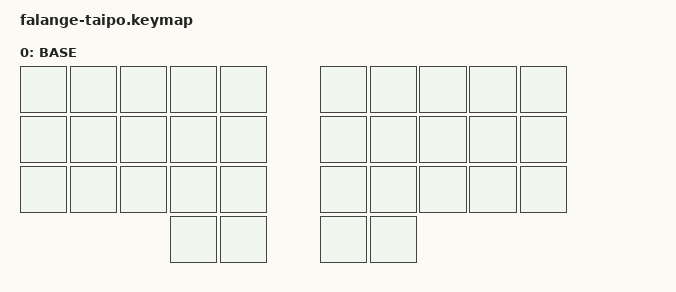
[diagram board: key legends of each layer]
#include <behaviors.dtsi>
#include <dt-bindings/zmk/keys.h>
#include <dt-bindings/zmk/bt.h>

#define DEFAULT 0

// CONFIG
#define COMBO_TIMEOUT 70
#define COMBO_LAYERS 0
#define STICKY_TIMEOUT 500

// LEFT SIDE
#define TLI 3 // TOP
#define TLM 2 // TOP
#define TLR 1 // TOP
#define TLP 0 // TOP
#define BLI 13 // BOTTOM
#define BLM 12 // BOTTOM
#define BLR 11 // BOTTOM
#define BLP 12 // BOTTOM
#define LOT 30 // O-THUMB
#define LIT 31 // I-THUMB

// RIGHT SIDE
#define TRI 6 // TOP
#define TRM 7 // TOP
#define TRR 8 // TOP
#define TRP 9 // TOP
#define BRI 16 // BOTTOM
#define BRM 17 // BOTTOM
#define BRR 18 // BOTTOM
#define BRP 19 // BOTTOM
#define ROT 33 // O-THUMB
#define RIT 32 // I-THUMB

&sk {
    release-after-ms = <STICKY_TIMEOUT>;
    quick-release;
};

/ {
    combos {
        compatible = "zmk,combos";
        #include "taipo.dtsi"
    };

    keymap {
        compatible = "zmk,keymap";

        default_layer {
            display-name = "BASE";
            bindings = <
    &none     &none     &none     &none     &none                         &none     &none     &none     &none     &none
    &none     &none     &none     &none     &none                         &none     &none     &none     &none     &none
    &none     &none     &none     &none     &none                         &none     &none     &none     &none     &none
                                            &none     &none     &none     &none
            >;
        };
    };
};
